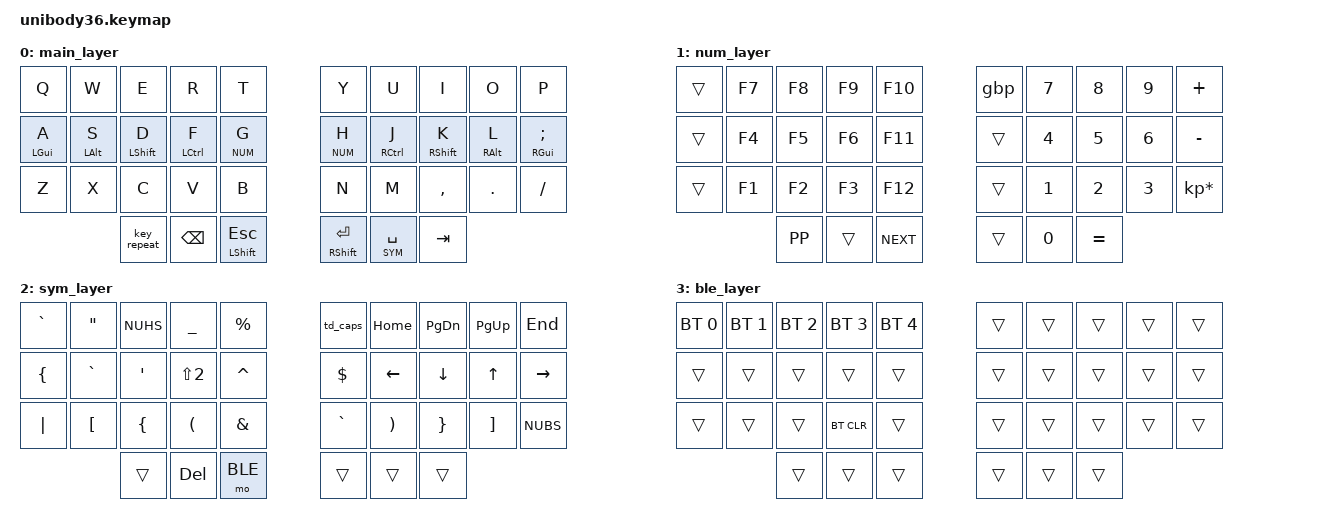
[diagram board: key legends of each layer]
/*
 * Copyright (c) 2024
 * SPDX-License-Identifier: MIT
 */

#include <behaviors.dtsi>
#include <dt-bindings/zmk/keys.h>
#include <dt-bindings/zmk/bt.h>

#define MAIN 0
#define NUM 1
#define SYM 2
#define BLE 3

// Configure mod-tap behavior to match your Minidox preferences
&mt {
    tapping-term-ms = <300>;
    flavor = "tap-preferred";
};

/ {
    macros {
        gbp: gbp {
            compatible = "zmk,behavior-macro";
            label = "GBP";
            #binding-cells = <0>;
            wait-ms = <10>;
            tap-ms = <10>;
            bindings
                = <&macro_press &kp LALT>
                , <&macro_tap &kp N3>
                , <&macro_release &kp LALT>
                ;
        };
    };

    behaviors {
        td_caps: tap_dance_caps {
            compatible = "zmk,behavior-tap-dance";
            label = "TAP_DANCE_CAPS";
            #binding-cells = <0>;
            tapping-term-ms = <200>;
            bindings = <&sk LSHIFT>, <&kp CAPS>;
        };
    };
};

/ {
    keymap {
        compatible = "zmk,keymap";

        main_layer {
            bindings = <
    &kp Q      &kp W       &kp E        &kp R        &kp T          &kp Y          &kp U         &kp I     &kp O      &kp P
    &mt LGUI A &mt LALT S  &mt LSHFT D  &mt LCTRL F  &lt NUM G      &lt NUM H      &mt RCTRL J   &mt RSHFT K &mt RALT L &mt RGUI SEMI
    &kp Z      &kp X       &kp C        &kp V        &kp B          &kp N          &kp M         &kp COMMA &kp DOT    &kp FSLH
                           &key_repeat  &kp BSPC     &mt LSHFT ESC  &mt RSHFT RET  &lt SYM SPACE &kp TAB
            >;
        };

        num_layer {
            bindings = <
    &trans &kp F7 &kp F8   &kp F9 &kp F10     &gbp   &kp N7 &kp N8    &kp N9 &kp PLUS
    &trans &kp F4 &kp F5   &kp F6 &kp F11     &trans &kp N4 &kp N5    &kp N6 &kp MINUS
    &trans &kp F1 &kp F2   &kp F3 &kp F12     &trans &kp N1 &kp N2    &kp N3 &kp KP_MULTIPLY
                  &kp K_PP &trans &kp K_NEXT  &trans &kp N0 &kp EQUAL
            >;
        };

        sym_layer {
            bindings = <
    &kp GRAVE  &kp DQT   &kp NUHS  &kp UNDER    &kp PRCNT  &td_caps &kp HOME &kp PG_DN &kp PG_UP &kp END
    &kp LBRC   &kp GRAVE &kp SQT   &kp LS(N2)   &kp CARET  &kp DLLR &kp LEFT &kp DOWN  &kp UP    &kp RIGHT
    &kp PIPE   &kp LBKT  &kp LBRC  &kp LPAR     &kp AMPS   &kp GRAVE &kp RPAR &kp RBRC  &kp RBKT  &kp NUBS
                         &trans    &kp DEL      &mo BLE    &trans   &trans   &trans
            >;
        };

        ble_layer {
            bindings = <
    &bt BT_SEL 0 &bt BT_SEL 1 &bt BT_SEL 2 &bt BT_SEL 3 &bt BT_SEL 4    &trans &trans &trans &trans &trans
    &trans       &trans       &trans       &trans       &trans          &trans &trans &trans &trans &trans
    &trans       &trans       &trans       &bt BT_CLR   &trans          &trans &trans &trans &trans &trans
                              &trans       &trans       &trans          &trans &trans &trans
            >;
        };
    };
};
